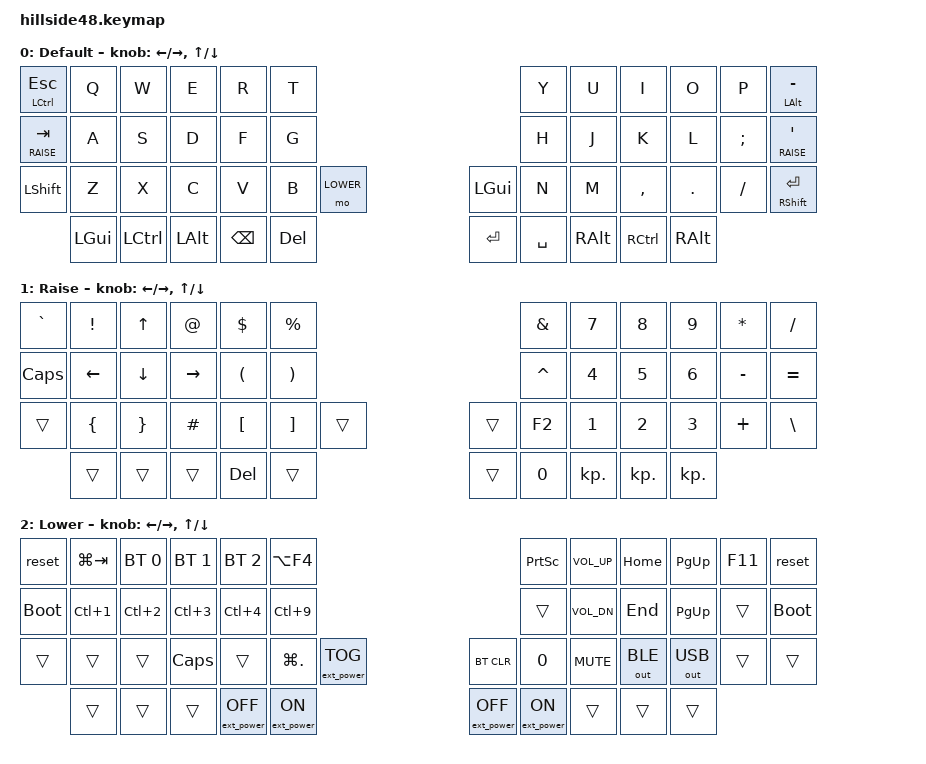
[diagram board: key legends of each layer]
/*
 * Copyright (c) 2020 The ZMK Contributors
 *
 * SPDX-License-Identifier: MIT
 */

#include <behaviors.dtsi>
#include <dt-bindings/zmk/keys.h>
#include <dt-bindings/zmk/ext_power.h>
#include <dt-bindings/zmk/bt.h>
#include <dt-bindings/zmk/outputs.h>

#define BASE  0
#define RAISE 1
#define LOWER 2

&mt {
    retro-tap;
    flavor = "tap-preferred";
};
&lt {
    retro-tap;
    flavor = "tap-preferred";
};



/ {
	behaviors {
        mthp: hold_preferred_tap {
                        compatible = "zmk,behavior-hold-tap";
                        label = "HOLD_PREFERRED_TAP";            
                        #binding-cells = <2>;
                        tapping-term-ms = <125>;                  
                        flavor = "hold-preferred";      
                        bindings = <&kp>, <&kp>;
        };
    };

    combos {
        compatible = "zmk,combos";
        combo_lower {
            timeout-ms = <50>;
            key-positions = <30 41>;
            bindings = <&mo LOWER>;
        };
		combo_lgui {
            timeout-ms = <50>;
            key-positions = <31 44>;
            bindings = <&kp LGUI>;
        };
    };



	keymap {
		compatible = "zmk,keymap";

		default_layer {
			label = "Default";

			bindings = <
	&mt LCTRL ESC   &kp Q &kp W &kp E &kp R &kp T                                                 &kp Y &kp U  &kp I     &kp O   &kp P    &mt LALT MINUS
	&lt RAISE TAB  	&kp A &kp S &kp D &kp F &kp G                                                 &kp H &kp J  &kp K     &kp L   &kp SEMI &lt RAISE SQT
	&kp LSHFT   	&kp Z &kp X &kp C &kp V &kp B &mo LOWER                             &kp LGUI  &kp N &kp M  &kp COMMA &kp DOT &kp FSLH &mthp RSHFT ENTER
	            	  &kp LGUI &kp LCTRL &kp LALT &kp BSPC &kp DEL          &kp ENTER  &kp SPACE  &kp RALT &kp RCTRL &kp RALT
			>;

			sensor-bindings = <&inc_dec_kp LEFT RIGHT &inc_dec_kp UP DOWN>;
		};

		raise_layer {
			label = "Raise";

			bindings = <
	&kp GRAVE	&kp EXCL &kp UP   &kp AT    &kp DLLR &kp PRCNT                                                &kp AMPS  &kp N7 &kp N8    &kp N9   &kp STAR &kp FSLH
	&kp CAPS  	&kp LEFT &kp DOWN &kp RIGHT &kp LPAR &kp RPAR                                                 &kp CARET &kp N4 &kp N5    &kp N6   &kp MINUS &kp EQUAL
	&trans		&kp LBRC &kp RBRC &kp POUND &kp LBKT &kp RBKT &trans           			     	    &trans    &kp F2    &kp N1 &kp N2    &kp N3   &kp PLUS &kp BSLH
	        	                         &trans &trans &trans &kp DEL &trans                  &trans  &kp N0  &kp KP_DOT &kp KP_DOT &kp KP_DOT
			>;

			sensor-bindings = <&inc_dec_kp LEFT RIGHT &inc_dec_kp UP DOWN>;

		};
		
		lower_layer {
			label = "Lower";
			bindings = <
	&reset       &kp LG(TAB) &bt BT_SEL 0  &bt BT_SEL 1     &bt BT_SEL 2   &kp LA(F4)                                                                       &kp PSCRN  &kp C_VOL_UP &kp HOME      &kp PG_UP     &kp F11 &reset
	&bootloader  &kp LC(N1)  &kp LC(N2)    &kp LC(N3)       &kp LC(N4)     &kp LC(N9)                                                                       &trans     &kp C_VOL_DN &kp END       &kp PG_UP     &trans  &bootloader
	&trans	     &trans  	 &trans        &kp CAPS         &trans         &kp LG(DOT) &ext_power EP_TOG                                      &bt BT_CLR    &kp N0     &kp C_MUTE   &out OUT_BLE  &out OUT_USB  &trans  &trans
	                        		  	 	 &trans &trans &trans &ext_power EP_OFF &ext_power EP_ON        &ext_power EP_OFF  &ext_power EP_ON &trans &trans &trans
			>;

			sensor-bindings = <&inc_dec_kp LEFT RIGHT &inc_dec_kp UP DOWN>;

		};
	};
};

